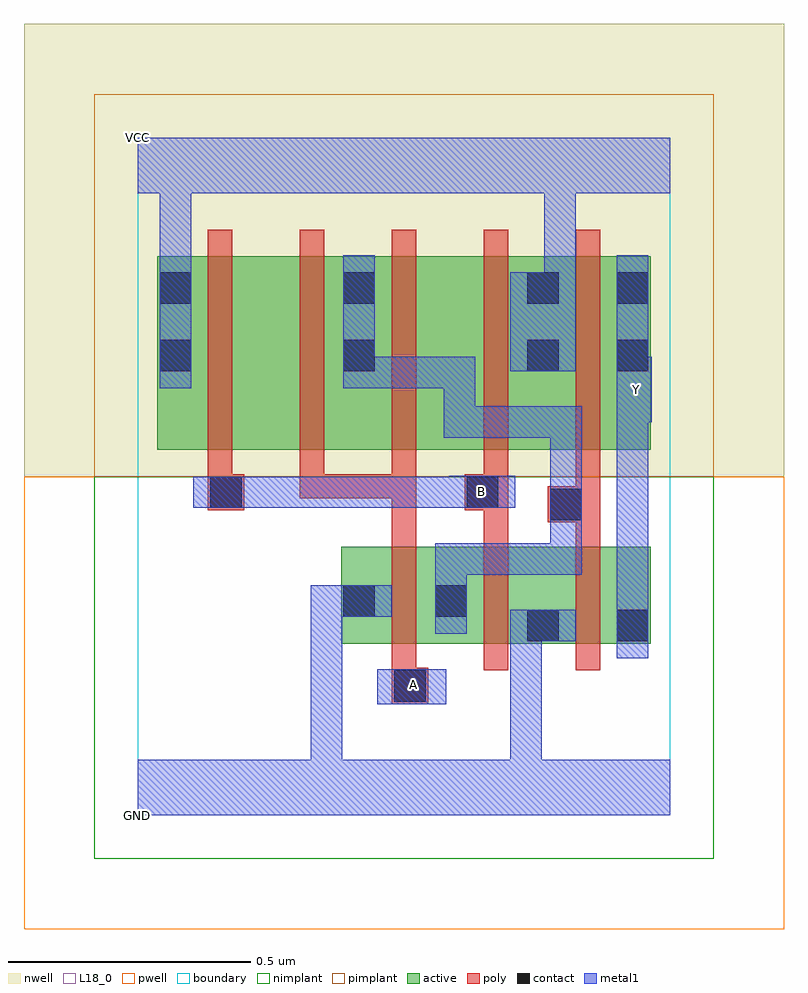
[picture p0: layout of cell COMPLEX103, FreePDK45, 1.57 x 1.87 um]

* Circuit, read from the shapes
.subckt COMPLEX103 A B GND VCC Y
M1 n1 A GND VSUBS nfet w=0.2u l=0.05u
M2 GND B n1 VSUBS nfet w=0.2u l=0.05u
M3 Y n1 GND VSUBS nfet w=0.2u l=0.05u
M4 n2 B VCC n3 pfet w=0.4u l=0.05u
M5 n1 A n2 n3 pfet w=0.4u l=0.05u
M6 n4 A n1 n3 pfet w=0.4u l=0.05u
M7 VCC B n4 n3 pfet w=0.4u l=0.05u
M8 Y n1 VCC n3 pfet w=0.4u l=0.05u
.ends

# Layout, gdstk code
import gdstk
lib = gdstk.Library(unit=1e-6, precision=1e-09)
def R(c, l, rs):  # rectangles x0, y0, x1, y1
    for r in rs: c.add(gdstk.rectangle(r[:2], r[2:], *l))
def A(c, l, x, y, w, h, nx, ny, dx, dy):  # array of equal rectangles
    R(c, l, [(x+i*dx, y+j*dy, x+i*dx+w, y+j*dy+h) for i in range(nx) for j in range(ny)])
active = (1, 0)
pwell = (2, 0)
nwell = (3, 0)
nimplant = (4, 0)
pimplant = (5, 0)
poly = (9, 0)
contact = (10, 0)
metal1 = (11, 0)
L18_0 = (18, 0)
boundary = (235, 0)

complex103 = lib.new_cell('COMPLEX103')
A(complex103, active, 0.04, 0.755, 0.075, 0.4, 3, 1, 0.38, 0)
R(complex103, active, [(0.42,0.355,0.495,0.555), (0.42,0.355,0.685,0.555), (0.61,0.355,0.875,0.555), (0.61,0.355,0.685,0.515), (0.8,0.355,1.06,0.555), (0.8,0.355,0.875,0.452), (0.985,0.355,1.06,0.555), (0.04,0.755,0.265,1.155), (0.265,0.755,0.495,1.155), (0.42,0.755,0.645,1.155), (0.645,0.755,0.875,1.155), (0.8,0.755,1.06,1.155), (0.985,0.755,1.06,1.155)])
R(complex103, pwell, [(-0.235,-0.235,1.335,0.7)])
R(complex103, nwell, [(-0.235,0.7,1.335,1.635)])
R(complex103, nimplant, [(-0.09,-0.09,1.19,0.7)])
R(complex103, pimplant, [(-0.09,0.7,1.19,1.49)])
A(complex103, poly, 0.525, 0.3, 0.05, 0.31, 3, 1, 0.19, 0)
A(complex103, poly, 0.145, 0.655, 0.05, 0.095, 4, 1, 0.19, 0)
A(complex103, poly, 0.145, 0.7, 0.05, 0.51, 5, 1, 0.19, 0)
R(complex103, poly, [(0.525,0.23,0.6,0.305), (0.525,0.255,0.575,0.35), (0.525,0.56,0.575,0.705), (0.715,0.56,0.765,0.68), (0.905,0.56,0.955,0.655), (0.847,0.605,0.955,0.68), (0.145,0.63,0.22,0.705), (0.675,0.63,0.765,0.705), (0.905,0.63,0.955,0.75), (0.335,0.655,0.575,0.705), (0.335,0.655,0.385,0.705), (0.335,0.655,0.385,0.705), (0.335,0.655,0.385,0.705), (0.525,0.655,0.575,0.705)])
A(complex103, contact, 0.045, 0.917, 0.065, 0.065, 3, 2, 0.38, 0.14)
R(complex103, contact, [(0.53,0.235,0.595,0.3), (0.805,0.36,0.87,0.425), (0.99,0.36,1.055,0.425), (0.425,0.41,0.49,0.475), (0.615,0.41,0.68,0.475), (0.852,0.61,0.917,0.675), (0.15,0.635,0.215,0.7), (0.68,0.635,0.745,0.7), (0.99,0.917,1.055,0.982), (0.99,1.057,1.055,1.122)])
R(complex103, metal1, [(0,0,1.1,0.115), (0.357,0.05,0.422,0.475), (0.77,0.05,0.835,0.115), (0.77,0.05,0.835,0.115), (0.77,0.05,0.835,0.115), (0.77,0.05,0.835,0.115), (0.77,0.05,0.835,0.115), (0.77,0.05,0.835,0.115), (0.77,0.05,0.835,0.425), (0.495,0.23,0.637,0.302), (0.99,0.325,1.055,0.46), (0.77,0.36,0.905,0.425), (0.615,0.375,0.68,0.51), (0.99,0.395,1.055,0.877), (0.357,0.41,0.422,0.475), (0.357,0.41,0.422,0.475), (0.357,0.41,0.422,0.475), (0.357,0.41,0.422,0.475), (0.357,0.41,0.422,0.475), (0.357,0.41,0.422,0.475), (0.357,0.41,0.525,0.475), (0.615,0.445,0.68,0.51), (0.615,0.445,0.68,0.562), (0.615,0.497,0.917,0.562), (0.852,0.497,0.917,0.562), (0.852,0.497,0.917,0.64), (0.852,0.575,0.917,0.64), (0.852,0.575,0.917,0.64), (0.852,0.575,0.917,0.71), (0.852,0.575,0.917,0.845), (0.115,0.635,0.25,0.7), (0.185,0.635,0.25,0.7), (0.185,0.635,0.25,0.7), (0.185,0.635,0.387,0.7), (0.322,0.635,0.387,0.7), (0.322,0.635,0.387,0.7), (0.322,0.635,0.387,0.7), (0.322,0.635,0.525,0.7), (0.46,0.635,0.525,0.7), (0.46,0.635,0.697,0.7), (0.632,0.635,0.697,0.7), (0.632,0.635,0.707,0.7), (0.642,0.635,0.78,0.702), (0.632,0.78,0.917,0.845), (0.632,0.78,0.697,0.947), (0.852,0.78,0.917,0.845), (0.99,0.812,1.062,0.947), (0.045,0.882,0.11,1.157), (0.425,0.882,0.49,1.157), (0.425,0.882,0.542,0.947), (0.477,0.882,0.542,0.947), (0.477,0.882,0.697,0.947), (0.632,0.882,0.697,0.947), (0.632,0.882,0.697,0.947), (0.99,0.882,1.055,0.947), (0.99,0.882,1.055,1.157), (0.77,0.917,0.905,1.122), (0.84,1.057,0.905,1.35), (0.045,1.092,0.11,1.35), (0,1.285,1.1,1.4)])
R(complex103, L18_0, [(0,0,1.1,0.115), (0.357,0.05,0.422,0.475), (0.77,0.05,0.835,0.115), (0.77,0.05,0.835,0.115), (0.77,0.05,0.835,0.115), (0.77,0.05,0.835,0.115), (0.77,0.05,0.835,0.115), (0.77,0.05,0.835,0.115), (0.77,0.05,0.835,0.425), (0.495,0.23,0.637,0.302), (0.537,0.237,0.602,0.302), (0.99,0.325,1.055,0.46), (0.77,0.36,0.905,0.425), (0.99,0.395,1.055,0.877), (0.357,0.41,0.422,0.475), (0.357,0.41,0.422,0.475), (0.357,0.41,0.422,0.475), (0.357,0.41,0.422,0.475), (0.357,0.41,0.422,0.475), (0.357,0.41,0.422,0.475), (0.357,0.41,0.525,0.475), (0.115,0.635,0.25,0.7), (0.185,0.635,0.25,0.7), (0.185,0.635,0.25,0.7), (0.185,0.635,0.387,0.7), (0.322,0.635,0.387,0.7), (0.322,0.635,0.387,0.7), (0.322,0.635,0.387,0.7), (0.322,0.635,0.525,0.7), (0.46,0.635,0.525,0.7), (0.46,0.635,0.697,0.7), (0.632,0.635,0.697,0.7), (0.632,0.635,0.707,0.7), (0.642,0.635,0.78,0.702), (0.677,0.637,0.742,0.702), (0.99,0.812,1.062,0.947), (0.997,0.847,1.062,0.912), (0.045,0.882,0.11,1.157), (0.99,0.882,1.055,1.157), (0.99,0.882,1.055,0.947), (0.77,0.917,0.905,1.122), (0.84,1.057,0.905,1.35), (0.045,1.092,0.11,1.35), (0,1.285,1.1,1.4)])
R(complex103, boundary, [(0,0,1.1,1.4)])
complex103.add(gdstk.Label('A', (0.57,0.27), layer=11, texttype=0))
complex103.add(gdstk.Label('B', (0.71,0.67), layer=11, texttype=0))
complex103.add(gdstk.Label('Y', (1.03,0.88), layer=11, texttype=0))
complex103.add(gdstk.Label('VCC', (0,1.4), layer=11, texttype=0))
complex103.add(gdstk.Label('GND', (0,0), layer=11, texttype=0))

lib.write_gds('COMPLEX103.gds')
